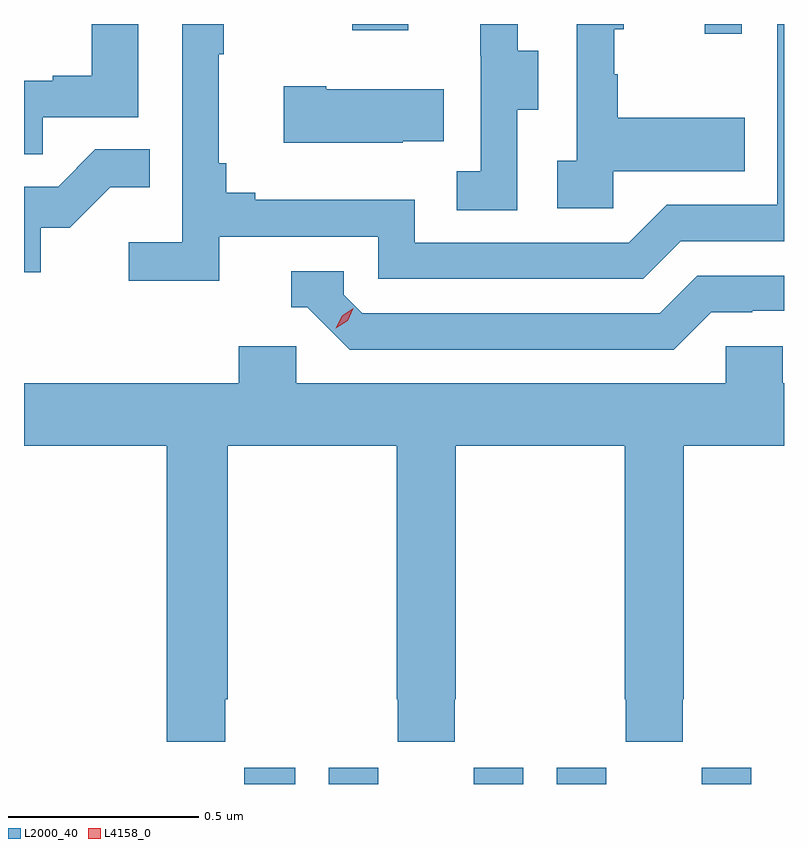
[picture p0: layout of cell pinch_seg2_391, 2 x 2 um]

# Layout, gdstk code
import gdstk
lib = gdstk.Library(unit=1e-6, precision=1e-09)
def R(c, l, rs):  # rectangles x0, y0, x1, y1
    for r in rs: c.add(gdstk.rectangle(r[:2], r[2:], *l))
def P(c, l, *ps):  # polygons
    for p in ps: c.add(gdstk.Polygon(p, *l))
L2000_40 = (2000, 40)
L4158_0 = (4158, 0)

pinch_seg2_391 = lib.new_cell('pinch_seg2_391')
R(pinch_seg2_391, L2000_40, [(993.158,622.77,993.292,622.813), (993.38,622.77,993.51,622.813), (993.762,622.77,993.892,622.813), (993.98,622.77,994.11,622.813), (994.362,622.77,994.492,622.813), (994.37,624.744,994.467,624.77), (993.442,624.753,993.589,624.77)])
P(pinch_seg2_391, L2000_40, [(993.092,624.21),(993.51,624.21),(993.51,624.099),(994.207,624.099),(994.306,624.198),(994.578,624.198),(994.578,624.77),(994.56,624.77),(994.56,624.294),(994.269,624.294),(994.17,624.195),(993.606,624.195),(993.606,624.307),(993.187,624.307),(993.187,624.326),(993.11,624.326),(993.11,624.403),(993.091,624.403),(993.091,624.691),(993.103,624.691),(993.103,624.77),(992.994,624.77),(992.994,624.196),(992.853,624.196),(992.853,624.094),(993.092,624.094)],
  [(992.627,624.525),(992.878,624.525),(992.878,624.77),(992.756,624.77),(992.756,624.634),(992.653,624.634),(992.653,624.621),(992.578,624.621),(992.578,624.427),(992.627,624.427)],
  [(994.128,624.383),(994.475,624.383),(994.475,624.523),(994.141,624.523),(994.141,624.638),(994.131,624.638),(994.131,624.756),(994.156,624.756),(994.156,624.77),(994.032,624.77),(994.032,624.41),(993.981,624.41),(993.981,624.285),(994.128,624.285)],
  [(993.876,624.544),(993.931,624.544),(993.931,624.699),(993.877,624.699),(993.877,624.77),(993.779,624.77),(993.779,624.687),(993.78,624.687),(993.78,624.383),(993.717,624.383),(993.717,624.28),(993.876,624.28)],
  [(993.575,624.461),(993.683,624.461),(993.683,624.598),(993.373,624.598),(993.373,624.606),(993.261,624.606),(993.261,624.458),(993.575,624.458)],
  [(992.622,624.234),(992.698,624.234),(992.805,624.341),(992.909,624.341),(992.909,624.44),(992.766,624.44),(992.668,624.342),(992.578,624.342),(992.578,624.117),(992.622,624.117)],
  [(994.387,624.012),(994.494,624.012),(994.494,624.015),(994.578,624.015),(994.578,624.108),(994.35,624.108),(994.251,624.009),(993.468,624.009),(993.42,624.057),(993.42,624.12),(993.281,624.12),(993.281,624.024),(993.324,624.024),(993.435,623.913),(994.288,623.913)],
  [(993.107,622.993),(993.114,622.993),(993.114,623.66),(993.559,623.66),(993.559,622.993),(993.561,622.993),(993.561,622.881),(993.711,622.881),(993.711,622.993),(993.714,622.993),(993.714,623.66),(994.159,623.66),(994.159,622.993),(994.161,622.993),(994.161,622.881),(994.311,622.881),(994.311,622.993),(994.314,622.993),(994.314,623.66),(994.578,623.66),(994.578,623.824),(994.575,623.824),(994.575,623.922),(994.425,623.922),(994.425,623.824),(993.294,623.824),(993.294,623.922),(993.143,623.922),(993.143,623.824),(992.578,623.824),(992.578,623.66),(992.954,623.66),(992.954,622.881),(993.107,622.881)])
P(pinch_seg2_391, L4158_0, [(993.399,623.969),(993.399,623.969),(993.415,624.002),(993.445,624.022),(993.445,624.022),(993.445,624.022),(993.43,623.989),(993.399,623.969)])

lib.write_gds('pinch_seg2_391.gds')
